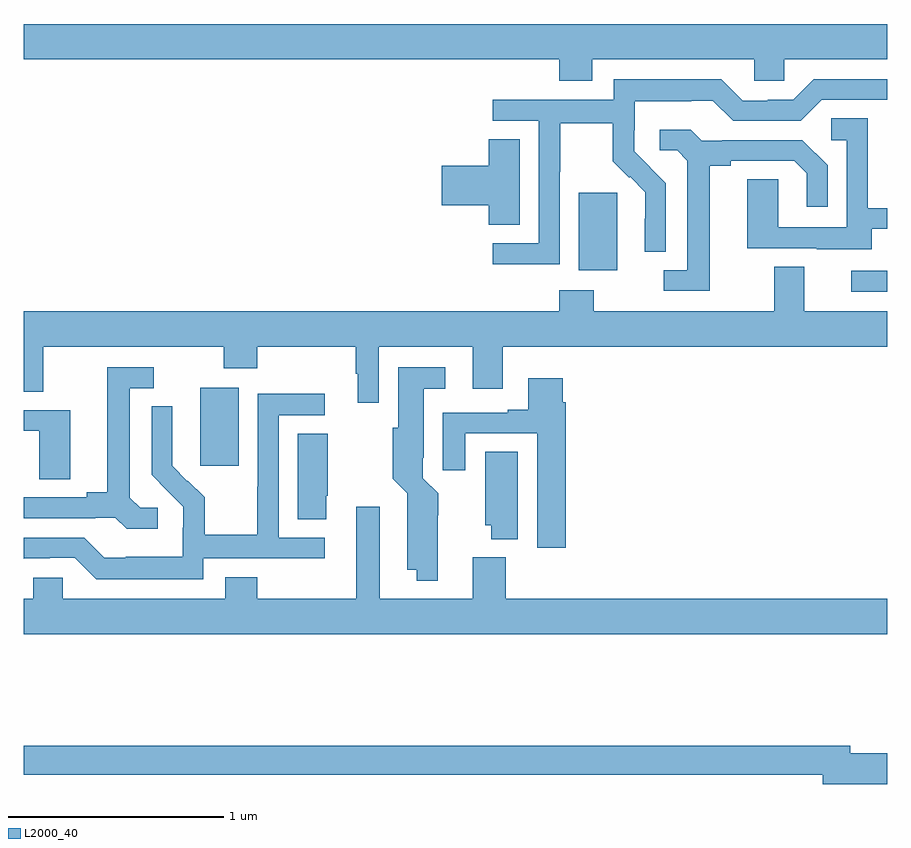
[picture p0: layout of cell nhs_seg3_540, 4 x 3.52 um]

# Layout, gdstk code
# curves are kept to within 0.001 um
import gdstk
lib = gdstk.Library(unit=1e-6, precision=1e-09)
def R(c, l, rs):  # rectangles x0, y0, x1, y1
    for r in rs: c.add(gdstk.rectangle(r[:2], r[2:], *l))
def P(c, l, *ps):  # polygons
    for p in ps: c.add(gdstk.Polygon(p, *l))
L2000_40 = (2000, 40)

nhs_seg3_540 = lib.new_cell('nhs_seg3_540')
R(nhs_seg3_540, L2000_40, [(137.816,728.337,137.995,728.698), (140.835,729.144,141,729.24), (139.571,729.242,139.75,729.603)])
P(nhs_seg3_540, L2000_40, [(139.633,730.22),(140.385,730.22),(140.385,730.122),(140.523,730.122),(140.523,730.22),(141,730.22),(141,730.384),(137,730.384),(137,730.22),(139.481,730.22),(139.481,730.121),(139.633,730.121)],
  [(139.482,729.7),(139.485,729.7),(139.485,729.924),(139.729,729.924),(139.729,729.749),(139.806,729.672),(139.809,729.675),(139.88,729.605),(139.88,729.482),(139.878,729.482),(139.878,729.328),(139.974,729.328),(139.974,729.646),(139.828,729.794),(139.828,729.891),(139.83,729.891),(139.83,730.025),(140.093,730.025),(140.093,730.029),(140.193,730.029),(140.286,729.936),(140.601,729.936),(140.697,730.032),(141,730.032),(141,730.128),(140.661,730.128),(140.565,730.032),(140.447,730.032),(140.447,730.029),(140.331,730.029),(140.231,730.129),(139.734,730.129),(139.734,730.032),(139.173,730.032),(139.173,729.936),(139.386,729.936),(139.386,729.369),(139.173,729.369),(139.173,729.271),(139.482,729.271)],
  [(140.929,729.435),(141,729.435),(141,729.531),(140.91,729.531),(140.91,729.947),(140.742,729.947),(140.742,729.846),(140.814,729.846),(140.814,729.441),(140.496,729.441),(140.496,729.665),(140.351,729.665),(140.351,729.345),(140.675,729.345),(140.675,729.341),(140.929,729.341)],
  [(140.179,729.728),(140.275,729.728),(140.275,729.75),(140.57,729.75),(140.627,729.693),(140.627,729.537),(140.724,729.537),(140.724,729.73),(140.608,729.846),(140.236,729.846),(140.236,729.843),(140.142,729.843),(140.09,729.895),(139.947,729.895),(139.947,729.798),(140.028,729.798),(140.075,729.751),(140.075,729.243),(139.965,729.243),(139.965,729.147),(140.179,729.147)],
  [(139.297,729.851),(139.154,729.851),(139.154,729.728),(138.936,729.728),(138.936,729.545),(139.154,729.545),(139.154,729.454),(139.297,729.454)],
  [(138.645,728.888),(139.079,728.888),(139.079,728.694),(139.219,728.694),(139.219,728.888),(141,728.888),(141,729.052),(140.617,729.052),(140.617,729.26),(140.477,729.26),(140.477,729.052),(139.641,729.052),(139.641,729.151),(139.481,729.151),(139.481,729.052),(137,729.052),(137,728.68),(137.089,728.68),(137.089,728.888),(137.926,728.888),(137.926,728.789),(138.081,728.789),(138.081,728.888),(138.537,728.888),(138.537,728.764),(138.548,728.764),(138.548,728.628),(138.645,728.628)],
  [(138.918,728.108),(138.919,728.21),(138.849,728.28),(138.849,728.374),(138.853,728.374),(138.853,728.693),(138.952,728.693),(138.952,728.794),(138.734,728.794),(138.734,728.514),(138.709,728.514),(138.709,728.277),(138.776,728.21),(138.776,727.856),(138.821,727.856),(138.821,727.805),(138.918,727.805)],
  [(137.62,728.142),(137.538,728.142),(137.491,728.189),(137.491,728.697),(137.602,728.697),(137.602,728.793),(137.387,728.793),(137.387,728.213),(137.291,728.213),(137.291,728.19),(137,728.19),(137,728.094),(137.33,728.094),(137.33,728.097),(137.424,728.097),(137.476,728.045),(137.62,728.045)],
  [(139.511,728.63),(139.498,728.63),(139.498,728.743),(139.337,728.743),(139.337,728.596),(139.241,728.596),(139.241,728.583),(138.941,728.583),(138.941,728.316),(139.045,728.316),(139.045,728.487),(139.379,728.487),(139.379,727.956),(139.511,727.956)],
  [(137.832,727.908),(138.394,727.908),(138.394,728.004),(138.18,728.004),(138.18,728.571),(138.394,728.571),(138.394,728.67),(138.084,728.67),(138.084,728.24),(138.082,728.24),(138.082,728.017),(137.837,728.017),(137.837,728.191),(137.76,728.268),(137.757,728.265),(137.687,728.336),(137.688,728.612),(137.592,728.612),(137.592,728.294),(137.738,728.146),(137.738,728.049),(137.736,728.049),(137.736,727.915),(137.473,727.915),(137.473,727.911),(137.373,727.911),(137.28,728.004),(137,728.004),(137,727.907),(137.12,727.908),(137.12,727.911),(137.235,727.911),(137.335,727.811),(137.832,727.811)],
  [(137.215,728.595),(137,728.595),(137,728.499),(137.07,728.499),(137.07,728.275),(137.215,728.275)],
  [(138.4,728.197),(138.408,728.197),(138.408,728.486),(138.269,728.486),(138.269,728.089),(138.4,728.089)],
  [(139.288,728.402),(139.139,728.402),(139.139,728.061),(139.166,728.061),(139.166,727.997),(139.288,727.997)],
  [(141,727.72),(139.232,727.72),(139.232,727.912),(139.079,727.912),(139.079,727.72),(138.649,727.72),(138.649,728.146),(138.539,728.146),(138.539,727.72),(138.081,727.72),(138.081,727.819),(137.933,727.819),(137.933,727.72),(137.181,727.72),(137.181,727.818),(137.043,727.818),(137.043,727.72),(137,727.72),(137,727.556),(141,727.556)],
  [(141,727.004),(140.83,727.004),(140.83,727.04),(137,727.04),(137,726.904),(140.702,726.904),(140.702,726.862),(141,726.862)])

lib.write_gds('nhs_seg3_540.gds')
